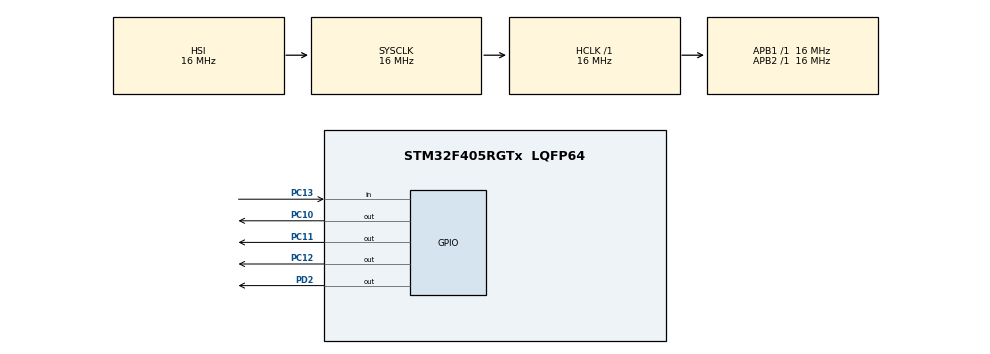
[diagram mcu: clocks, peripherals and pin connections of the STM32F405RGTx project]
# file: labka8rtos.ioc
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FREERTOS.Queues01=ledqueues1,5,uint16_t,0,Dynamic,NULL,NULL;ledqueues2,5,uint16_t,0,Dynamic,NULL,NULL;ledqueues3,5,uint16_t,0,Dynamic,NULL,NULL;ledqueues4,5,uint16_t,0,Dynamic,NULL,NULL
FREERTOS.Tasks01=defaultTask,32,128,StartDefaultTask,Default,NULL,Dynamic,NULL,NULL;ledtask1,24,128,StartTask02,Default,NULL,Dynamic,NULL,NULL;ledtask2,24,128,StartTask03,Default,NULL,Dynamic,NULL,NULL;ledtask3,16,128,StartTask04,Default,NULL,Dynamic,NULL,NULL;ledtask4,16,128,StartTask05,Default,NULL,Dynamic,NULL,NULL
FREERTOS.configUSE_NEWLIB_REENTRANT=1
Mcu.Family=STM32F4
Mcu.Name=STM32F405RGTx
Mcu.Package=LQFP64
NVIC.PriorityGroup=NVIC_PRIORITYGROUP_4
NVIC.TIM6_DAC_IRQn=true\:15\:0\:false\:false\:true\:false\:false\:true\:true
NVIC.TimeBase=TIM6_DAC_IRQn
NVIC.TimeBaseIP=TIM6
PC10.Signal=GPIO_Output
PC11.Signal=GPIO_Output
PC12.Signal=GPIO_Output
PC13-ANTI_TAMP.GPIO_PuPd=GPIO_PULLDOWN
PC13-ANTI_TAMP.Signal=GPIO_Input
PD2.Signal=GPIO_Output
ProjectManager.HeapSize=0x200
ProjectManager.StackSize=0x400
ProjectManager.TargetToolchain=STM32CubeIDE
RCC.AHBFreq_Value=16000000
RCC.APB1Freq_Value=16000000
RCC.APB2Freq_Value=16000000
RCC.CortexFreq_Value=16000000
RCC.HSE_VALUE=25000000
RCC.HSI_VALUE=16000000
RCC.LSE_VALUE=32768
RCC.SYSCLKFreq_VALUE=16000000
RCC.VCOOutputFreq_Value=192000000
VP_FREERTOS_VS_CMSIS_V2.Mode=CMSIS_V2
VP_SYS_VS_tim6.Mode=TIM6
board=custom

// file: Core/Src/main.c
/* USER CODE BEGIN Header */
/**
  ******************************************************************************
  * @file           : main.c
  * @brief          : Main program body
  ******************************************************************************
  * @attention
  *
  * Copyright (c) 2026 STMicroelectronics.
  * All rights reserved.
  *
  * This software is licensed under terms that can be found in the LICENSE file
  * in the root directory of this software component.
  * If no LICENSE file comes with this software, it is provided AS-IS.
  *
  ******************************************************************************
  */
/* USER CODE END Header */
#include "main.h"
#include "cmsis_os.h"

/* Definitions for defaultTask */
osThreadId_t defaultTaskHandle;
const osThreadAttr_t defaultTask_attributes = {
  .name = "defaultTask",
  .stack_size = 128 * 4,
  .priority = (osPriority_t) osPriorityAboveNormal,
};
/* Definitions for ledtask1 */
osThreadId_t ledtask1Handle;
const osThreadAttr_t ledtask1_attributes = {
  .name = "ledtask1",
  .stack_size = 128 * 4,
  .priority = (osPriority_t) osPriorityNormal,
};
/* Definitions for ledtask2 */
osThreadId_t ledtask2Handle;
const osThreadAttr_t ledtask2_attributes = {
  .name = "ledtask2",
  .stack_size = 128 * 4,
  .priority = (osPriority_t) osPriorityNormal,
};
/* Definitions for ledtask3 */
osThreadId_t ledtask3Handle;
const osThreadAttr_t ledtask3_attributes = {
  .name = "ledtask3",
  .stack_size = 128 * 4,
  .priority = (osPriority_t) osPriorityBelowNormal,
};
/* Definitions for ledtask4 */
osThreadId_t ledtask4Handle;
const osThreadAttr_t ledtask4_attributes = {
  .name = "ledtask4",
  .stack_size = 128 * 4,
  .priority = (osPriority_t) osPriorityBelowNormal,
};
/* Definitions for ledqueues1 */
osMessageQueueId_t ledqueues1Handle;
const osMessageQueueAttr_t ledqueues1_attributes = {
  .name = "ledqueues1"
};
/* Definitions for ledqueues2 */
osMessageQueueId_t ledqueues2Handle;
const osMessageQueueAttr_t ledqueues2_attributes = {
  .name = "ledqueues2"
};
/* Definitions for ledqueues3 */
osMessageQueueId_t ledqueues3Handle;
const osMessageQueueAttr_t ledqueues3_attributes = {
  .name = "ledqueues3"
};
/* Definitions for ledqueues4 */
osMessageQueueId_t ledqueues4Handle;
const osMessageQueueAttr_t ledqueues4_attributes = {
  .name = "ledqueues4"
};

void SystemClock_Config(void);
static void MX_GPIO_Init(void);
void StartDefaultTask(void *argument);
void StartTask02(void *argument);
void StartTask03(void *argument);
void StartTask04(void *argument);
void StartTask05(void *argument);

int main(void)
{

  /* MCU Configuration--------------------------------------------------------*/

  /* Reset of all peripherals, Initializes the Flash interface and the Systick. */
  HAL_Init();

  /* Configure the system clock */
  SystemClock_Config();

  /* Initialize all configured peripherals */
  MX_GPIO_Init();

  /* Init scheduler */
  osKernelInitialize();

  /* Create the queue(s) */
  /* creation of ledqueues1 */
  ledqueues1Handle = osMessageQueueNew (5, sizeof(uint16_t), &ledqueues1_attributes);

  /* creation of ledqueues2 */
  ledqueues2Handle = osMessageQueueNew (5, sizeof(uint16_t), &ledqueues2_attributes);

  /* creation of ledqueues3 */
  ledqueues3Handle = osMessageQueueNew (5, sizeof(uint16_t), &ledqueues3_attributes);

  /* creation of ledqueues4 */
  ledqueues4Handle = osMessageQueueNew (5, sizeof(uint16_t), &ledqueues4_attributes);

  /* Create the thread(s) */
  /* creation of defaultTask */
  defaultTaskHandle = osThreadNew(StartDefaultTask, NULL, &defaultTask_attributes);

  /* creation of ledtask1 */
  ledtask1Handle = osThreadNew(StartTask02, NULL, &ledtask1_attributes);

  /* creation of ledtask2 */
  ledtask2Handle = osThreadNew(StartTask03, NULL, &ledtask2_attributes);

  /* creation of ledtask3 */
  ledtask3Handle = osThreadNew(StartTask04, NULL, &ledtask3_attributes);

  /* creation of ledtask4 */
  ledtask4Handle = osThreadNew(StartTask05, NULL, &ledtask4_attributes);

  /* Start scheduler */
  osKernelStart();

  /* We should never get here as control is now taken by the scheduler */

  /* Infinite loop */
  while (1)
  {

  }
}

void SystemClock_Config(void)
{
  RCC_OscInitTypeDef RCC_OscInitStruct = {0};
  RCC_ClkInitTypeDef RCC_ClkInitStruct = {0};

  /** Configure the main internal regulator output voltage
  */
  __HAL_RCC_PWR_CLK_ENABLE();
  __HAL_PWR_VOLTAGESCALING_CONFIG(PWR_REGULATOR_VOLTAGE_SCALE1);

  /** Initializes the RCC Oscillators according to the specified parameters
  * in the RCC_OscInitTypeDef structure.
  */
  RCC_OscInitStruct.OscillatorType = RCC_OSCILLATORTYPE_HSI;
  RCC_OscInitStruct.HSIState = RCC_HSI_ON;
  RCC_OscInitStruct.HSICalibrationValue = RCC_HSICALIBRATION_DEFAULT;
  RCC_OscInitStruct.PLL.PLLState = RCC_PLL_NONE;
  if (HAL_RCC_OscConfig(&RCC_OscInitStruct) != HAL_OK)
  {
    Error_Handler();
  }

  /** Initializes the CPU, AHB and APB buses clocks
  */
  RCC_ClkInitStruct.ClockType = RCC_CLOCKTYPE_HCLK|RCC_CLOCKTYPE_SYSCLK
                              |RCC_CLOCKTYPE_PCLK1|RCC_CLOCKTYPE_PCLK2;
  RCC_ClkInitStruct.SYSCLKSource = RCC_SYSCLKSOURCE_HSI;
  RCC_ClkInitStruct.AHBCLKDivider = RCC_SYSCLK_DIV1;
  RCC_ClkInitStruct.APB1CLKDivider = RCC_HCLK_DIV1;
  RCC_ClkInitStruct.APB2CLKDivider = RCC_HCLK_DIV1;

  if (HAL_RCC_ClockConfig(&RCC_ClkInitStruct, FLASH_LATENCY_0) != HAL_OK)
  {
    Error_Handler();
  }
}

static void MX_GPIO_Init(void)
{
  GPIO_InitTypeDef GPIO_InitStruct = {0};

  /* GPIO Ports Clock Enable */
  __HAL_RCC_GPIOC_CLK_ENABLE();
  __HAL_RCC_GPIOD_CLK_ENABLE();

  /*Configure GPIO pin Output Level */
  HAL_GPIO_WritePin(GPIOC, GPIO_PIN_10|GPIO_PIN_11|GPIO_PIN_12, GPIO_PIN_RESET);

  /*Configure GPIO pin Output Level */
  HAL_GPIO_WritePin(GPIOD, GPIO_PIN_2, GPIO_PIN_RESET);

  /*Configure GPIO pin : PC13 */
  GPIO_InitStruct.Pin = GPIO_PIN_13;
  GPIO_InitStruct.Mode = GPIO_MODE_INPUT;
  GPIO_InitStruct.Pull = GPIO_PULLDOWN;
  HAL_GPIO_Init(GPIOC, &GPIO_InitStruct);

  /*Configure GPIO pins : PC10 PC11 PC12 */
  GPIO_InitStruct.Pin = GPIO_PIN_10|GPIO_PIN_11|GPIO_PIN_12;
  GPIO_InitStruct.Mode = GPIO_MODE_OUTPUT_PP;
  GPIO_InitStruct.Pull = GPIO_NOPULL;
  GPIO_InitStruct.Speed = GPIO_SPEED_FREQ_LOW;
  HAL_GPIO_Init(GPIOC, &GPIO_InitStruct);

  /*Configure GPIO pin : PD2 */
  GPIO_InitStruct.Pin = GPIO_PIN_2;
  GPIO_InitStruct.Mode = GPIO_MODE_OUTPUT_PP;
  GPIO_InitStruct.Pull = GPIO_NOPULL;
  GPIO_InitStruct.Speed = GPIO_SPEED_FREQ_LOW;
  HAL_GPIO_Init(GPIOD, &GPIO_InitStruct);

}

void StartDefaultTask(void *argument)
{
  /* USER CODE BEGIN 5 */
	uint32_t signal = 1;
  /* Infinite loop */
  for(;;)
  {
	  if (HAL_GPIO_ReadPin(GPIOC, GPIO_PIN_13) == GPIO_PIN_RESET){
		  osMessageQueuePut(ledqueues1Handle, &signal, 0, 0);
		  while (HAL_GPIO_ReadPin(GPIOC, GPIO_PIN_13) == GPIO_PIN_RESET){
			  osDelay(10);
		  }
	  }
    osDelay(1);
  }
  /* USER CODE END 5 */
}

void StartTask02(void *argument)
{
  /* USER CODE BEGIN StartTask02 */
	uint32_t msg;
  /* Infinite loop */
  for(;;)
  {
	  if (osMessageQueueGet(ledqueues1Handle, &msg, NULL, osWaitForever) == osOK){
		  HAL_GPIO_WritePin(GPIOC, GPIO_PIN_10, GPIO_PIN_SET);
		  osDelay(200);
		  HAL_GPIO_WritePin(GPIOC, GPIO_PIN_10, GPIO_PIN_RESET);
		  osMessageQueuePut(ledqueues2Handle, &msg, 0, 0);
	  }

  }
  /* USER CODE END StartTask02 */
}

void StartTask03(void *argument)
{
  /* USER CODE BEGIN StartTask03 */
	 uint32_t msg;
  /* Infinite loop */
  for(;;)
  {
	  if (osMessageQueueGet(ledqueues2Handle, &msg, NULL, osWaitForever) == osOK){
		  HAL_GPIO_WritePin(GPIOC, GPIO_PIN_11, GPIO_PIN_SET);
		  osDelay(200);
		  HAL_GPIO_WritePin(GPIOC, GPIO_PIN_11, GPIO_PIN_RESET);
		  osMessageQueuePut(ledqueues3Handle, &msg, 0, 0);
	  }
    osDelay(1);
  }
  /* USER CODE END StartTask03 */
}

void StartTask04(void *argument)
{
  /* USER CODE BEGIN StartTask04 */
	uint32_t msg;
  /* Infinite loop */
  for(;;)
  {
	  if (osMessageQueueGet(ledqueues3Handle, &msg, NULL, osWaitForever) == osOK) {
		  HAL_GPIO_WritePin(GPIOC, GPIO_PIN_12, GPIO_PIN_SET);
		  osDelay(200);
		  HAL_GPIO_WritePin(GPIOC , GPIO_PIN_12, GPIO_PIN_RESET);
		  osMessageQueuePut(ledqueues4Handle, &msg, 0, 0);
	  }
    osDelay(1);
  }
  /* USER CODE END StartTask04 */
}

void StartTask05(void *argument)
{
  /* USER CODE BEGIN StartTask05 */
	uint32_t msg;
  /* Infinite loop */
  for(;;)
  {
	  if (osMessageQueueGet(ledqueues4Handle, &msg, NULL, osWaitForever) == osOK){
		  HAL_GPIO_WritePin(GPIOD, GPIO_PIN_2, GPIO_PIN_SET);
		  osDelay(200);
		  HAL_GPIO_WritePin(GPIOD, GPIO_PIN_2, GPIO_PIN_RESET);
	  }

  }
  /* USER CODE END StartTask05 */
}

void HAL_TIM_PeriodElapsedCallback(TIM_HandleTypeDef *htim)
{
  if (htim->Instance == TIM6)
  {
    HAL_IncTick();
  }
}

void Error_Handler(void)
{
  __disable_irq();
  while (1)
  {
  }
}
